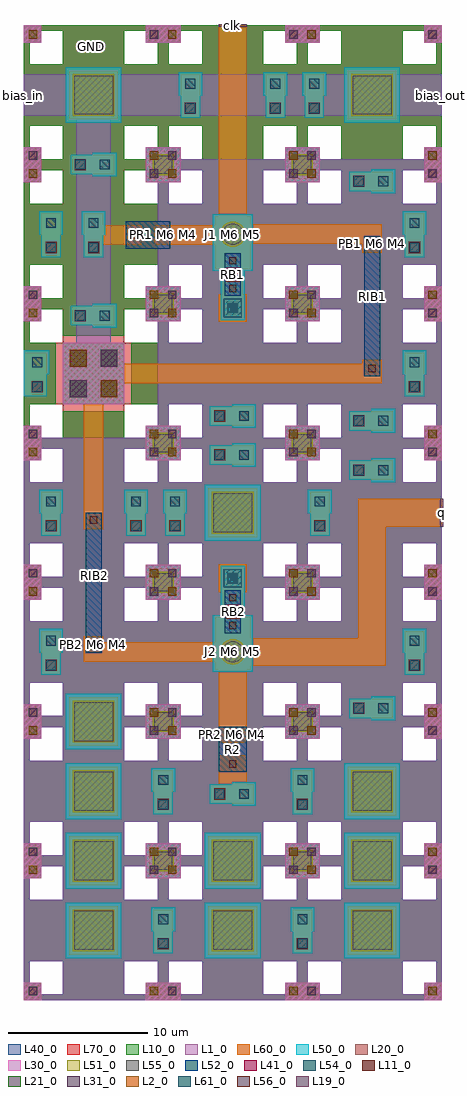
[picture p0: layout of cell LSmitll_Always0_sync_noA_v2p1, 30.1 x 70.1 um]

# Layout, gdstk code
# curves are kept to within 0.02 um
from math import pi, radians
import gdstk
lib = gdstk.Library(unit=1e-6, precision=1e-09)
def R(c, l, rs):  # rectangles x0, y0, x1, y1
    for r in rs: c.add(gdstk.rectangle(r[:2], r[2:], *l))
def P(c, l, *ps):  # polygons
    for p in ps: c.add(gdstk.Polygon(p, *l))
L1_0 = (1, 0)
L2_0 = (2, 0)
L10_0 = (10, 0)
L11_0 = (11, 0)
L19_0 = (19, 0)
L20_0 = (20, 0)
L21_0 = (21, 0)
L30_0 = (30, 0)
L31_0 = (31, 0)
L40_0 = (40, 0)
L41_0 = (41, 0)
L50_0 = (50, 0)
L51_0 = (51, 0)
L52_0 = (52, 0)
L54_0 = (54, 0)
L55_0 = (55, 0)
L56_0 = (56, 0)
L60_0 = (60, 0)
L61_0 = (61, 0)
L70_0 = (70, 0)

ls_tr_m0 = lib.new_cell('ls_tr_M0')
P(ls_tr_m0, L1_0, [(0,0),(0,10),(1.25,10),(1.25,8.75),(0.4,8.75),(0.4,1.25),(1.25,1.25),(1.25,0.4),(2.8,0.4),(2.8,2.8),(0.4,2.8),(0.4,7.2),(2.8,7.2),(2.8,9.6),(1.25,9.6),(1.25,10),(7.2,10),(7.2,0.4),(8.75,0.4),(8.75,1.25),(9.6,1.25),(9.6,2.8),(7.2,2.8),(7.2,7.2),(9.6,7.2),(9.6,8.75),(8.75,8.75),(8.75,9.6),(7.2,9.6),(7.2,10),(10,10),(10,0)])

ls_conn_m4m5m6m7 = lib.new_cell('ls_conn_M4M5M6M7')
R(ls_conn_m4m5m6m7, L40_0, [(0,0,1.4,1.4)])
R(ls_conn_m4m5m6m7, L41_0, [(0.3,0.3,1.1,1.1)])
P(ls_conn_m4m5m6m7, L50_0, [(1.6,-0.15),(1.6,0),(0,0),(0,1.4),(1.6,1.4),(1.6,1.55),(3.3,1.55),(3.3,-0.15)])
R(ls_conn_m4m5m6m7, L54_0, [(2.1,0.35,2.8,1.05)])
R(ls_conn_m4m5m6m7, L60_0, [(0,0,3.15,1.4)])
R(ls_conn_m4m5m6m7, L61_0, [(0.35,0.35,1.05,1.05)])
R(ls_conn_m4m5m6m7, L70_0, [(0,0,1.4,1.4)])

ls_fakejj_3umx3um = lib.new_cell('ls_FakeJJ_3umx3um')
R(ls_fakejj_3umx3um, L40_0, [(-2,-2,2,2)])
R(ls_fakejj_3umx3um, L50_0, [(-2,-2,2,2)])
R(ls_fakejj_3umx3um, L51_0, [(-1.5,-1.5,1.5,1.5)])
R(ls_fakejj_3umx3um, L55_0, [(-1.4,-1.4,1.4,1.4)])
R(ls_fakejj_3umx3um, L60_0, [(-1.75,-1.75,1.75,1.75)])

ls_fakejj_1p5x1p5um = lib.new_cell('ls_FakeJJ_1p5x1p5um')
R(ls_fakejj_1p5x1p5um, L40_0, [(-1.25,-1.25,1.25,1.25)])
R(ls_fakejj_1p5x1p5um, L50_0, [(-1.25,-1.25,1.25,1.25)])
R(ls_fakejj_1p5x1p5um, L51_0, [(-0.75,-0.75,0.75,0.75)])
R(ls_fakejj_1p5x1p5um, L55_0, [(-0.65,-0.65,0.65,0.65)])
R(ls_fakejj_1p5x1p5um, L60_0, [(-1,-1,1,1)])

ls_ib_175 = lib.new_cell('ls_ib_175')
R(ls_ib_175, L52_0, [(-0.575,0,0.575,10.05)])
R(ls_ib_175, L56_0, [(-0.26,0.29,0.26,0.81), (-0.26,9.26,0.26,9.78)])
R(ls_ib_175, L60_0, [(-0.625,-0.1,0.625,1.175), (-0.625,8.875,0.625,10.15)])

ls_tr_m7 = lib.new_cell('ls_tr_M7')
P(ls_tr_m7, L70_0, [(0,0),(0,10),(1.25,10),(1.25,8.75),(0.4,8.75),(0.4,1.25),(1.25,1.25),(1.25,0.4),(2.8,0.4),(2.8,2.8),(0.4,2.8),(0.4,7.2),(2.8,7.2),(2.8,9.6),(1.25,9.6),(1.25,10),(7.2,10),(7.2,0.4),(8.75,0.4),(8.75,1.25),(9.6,1.25),(9.6,2.8),(7.2,2.8),(7.2,7.2),(9.6,7.2),(9.6,8.75),(8.75,8.75),(8.75,9.6),(7.2,9.6),(7.2,10),(10,10),(10,0)])

ls_tr_u_m4_alt = lib.new_cell('ls_tr_u_M4_alt')
R(ls_tr_u_m4_alt, L1_0, [(0,0,1.25,1.25), (8.75,0,10,1.25), (0,8.75,1.25,10), (8.75,8.75,10,10)])
R(ls_tr_u_m4_alt, L2_0, [(9.05,0.35,9.65,0.95), (0.35,9.05,0.95,9.65)])
R(ls_tr_u_m4_alt, L10_0, [(0,0,1.25,1.25), (1.25,0,8.75,0.4), (8.75,0,10,1.25), (2.8,0.4,7.2,9.6), (0,1.25,0.4,8.75), (9.6,1.25,10,8.75), (0.4,2.8,2.8,7.2), (7.2,2.8,9.6,7.2), (0,8.75,1.25,10), (8.75,8.75,10,10), (1.25,9.6,8.75,10)])
R(ls_tr_u_m4_alt, L11_0, [(0.35,0.35,0.95,0.95), (9.05,9.05,9.65,9.65)])
R(ls_tr_u_m4_alt, L20_0, [(0,0,1.25,1.25), (8.75,0,10,1.25), (0,8.75,1.25,10), (8.75,8.75,10,10)])
R(ls_tr_u_m4_alt, L21_0, [(9.05,0.35,9.65,0.95), (0.35,9.05,0.95,9.65)])
R(ls_tr_u_m4_alt, L30_0, [(0,0,1.25,1.25), (8.75,0,10,1.25), (0,8.75,1.25,10), (8.75,8.75,10,10)])
R(ls_tr_u_m4_alt, L31_0, [(0.35,0.35,0.95,0.95), (9.05,9.05,9.65,9.65)])
P(ls_tr_u_m4_alt, L40_0, [(0,0),(0,10),(1.25,10),(1.25,8.75),(0.4,8.75),(0.4,1.25),(1.25,1.25),(1.25,0.4),(2.8,0.4),(2.8,2.8),(0.4,2.8),(0.4,7.2),(2.8,7.2),(2.8,9.6),(1.25,9.6),(1.25,10),(7.2,10),(7.2,0.4),(8.75,0.4),(8.75,1.25),(9.6,1.25),(9.6,2.8),(7.2,2.8),(7.2,7.2),(9.6,7.2),(9.6,8.75),(8.75,8.75),(8.75,9.6),(7.2,9.6),(7.2,10),(10,10),(10,0)])
ls_tr_u_m4_alt.add(gdstk.Reference(ls_tr_m7, (0,0)))

ls_conn_m5m6m7 = lib.new_cell('ls_conn_M5M6M7')
R(ls_conn_m5m6m7, L50_0, [(-0.5,-0.5,1.2,1.2)])
R(ls_conn_m5m6m7, L54_0, [(0,0,0.7,0.7)])
R(ls_conn_m5m6m7, L60_0, [(-0.65,-0.65,1.35,1.35)])
R(ls_conn_m5m6m7, L61_0, [(-0.3,-0.3,1,1)])
R(ls_conn_m5m6m7, L70_0, [(-0.65,-0.65,1.35,1.35)])

ls_jj_250_sg = lib.new_cell('ls_jj_250_sg')
R(ls_jj_250_sg, L41_0, [(-0.5,2.4,0.5,3.4)])
R(ls_jj_250_sg, L50_0, [(-1.425,-1.425,1.425,2.625), (-0.875,2.625,0.875,6.175)])
P(ls_jj_250_sg, L51_0, [(0,-0.91),(-0.18,-0.895),(-0.35,-0.84),(-0.645,-0.645),(-0.84,-0.35),(-0.91,0),(-0.895,0.18),(-0.84,0.35),(-0.645,0.645),(-0.35,0.84),(-0.18,0.895),(0,0.91),(0.18,0.895),(0.35,0.84),(0.645,0.645),(0.84,0.35),(0.895,0.18),(0.91,0),(0.84,-0.35),(0.645,-0.645),(0.35,-0.84),(0.18,-0.895)])
R(ls_jj_250_sg, L52_0, [(-0.575,1.35,0.575,4.425)])
R(ls_jj_250_sg, L54_0, [(-0.35,4.95,0.35,5.65)])
P(ls_jj_250_sg, L55_0, [(0,-0.76),(-0.15,-0.75),(-0.29,-0.7),(-0.54,-0.54),(-0.7,-0.29),(-0.75,-0.15),(-0.76,0),(-0.75,0.15),(-0.7,0.29),(-0.54,0.54),(-0.29,0.7),(-0.15,0.75),(0,0.76),(0.15,0.75),(0.29,0.7),(0.54,0.54),(0.7,0.29),(0.75,0.15),(0.76,0),(0.75,-0.15),(0.7,-0.29),(0.54,-0.54),(0.29,-0.7),(0.15,-0.75)])
R(ls_jj_250_sg, L56_0, [(-0.26,1.64,0.26,2.16), (-0.26,3.63,0.26,4.15)])
R(ls_jj_250_sg, L60_0, [(-1.275,-1.275,1.275,2.525), (-0.725,3.25,0.725,6.025)])
ls_jj_250_sg.add(gdstk.Reference(ls_conn_m5m6m7, (-0.35,4.95)))

ls_res_2 = lib.new_cell('ls_res_2')
R(ls_res_2, L52_0, [(-1,0,1,3.225)])
R(ls_res_2, L56_0, [(-0.26,0.29,0.26,0.81), (-0.26,2.44,0.26,2.96)])
R(ls_res_2, L60_0, [(-0.625,-0.1,0.625,1.175), (-0.625,2.075,0.625,3.325)])

ls_tr_bias_pillar_m0m6 = lib.new_cell('ls_tr_bias_pillar_M0M6')
R(ls_tr_bias_pillar_m0m6, L1_0, [(0,0,1.25,1.25), (8.75,0,10,1.25), (2.8,2.8,7.2,7.2), (0,8.75,1.25,10), (8.75,8.75,10,10)])
R(ls_tr_bias_pillar_m0m6, L2_0, [(9.05,0.35,9.65,0.95), (5.5,3.3,6.7,4.5), (3.3,5.5,4.5,6.7), (0.35,9.05,0.95,9.65)])
R(ls_tr_bias_pillar_m0m6, L10_0, [(0,0,1.25,1.25), (8.75,0,10,1.25), (2.8,2.8,7.2,7.2), (0,8.75,1.25,10), (8.75,8.75,10,10)])
P(ls_tr_bias_pillar_m0m6, L10_0, [(0,0),(0,10),(7.2,10),(7.2,7.7),(2.8,7.7),(2.8,9.6),(1.25,9.6),(1.25,8.75),(0.4,8.75),(0.4,7.2),(2.3,7.2),(2.3,2.8),(0.4,2.8),(0.4,1.25),(1.25,1.25),(1.25,0.4),(2.8,0.4),(2.8,2.3),(7.2,2.3),(7.2,0.4),(8.75,0.4),(8.75,1.25),(9.6,1.25),(9.6,2.8),(7.7,2.8),(7.7,7.2),(9.6,7.2),(9.6,8.75),(8.75,8.75),(8.75,9.6),(7.2,9.6),(7.2,10),(10,10),(10,0)])
R(ls_tr_bias_pillar_m0m6, L11_0, [(0.35,0.35,0.95,0.95), (3.3,3.3,4.5,4.5), (5.5,5.5,6.7,6.7), (9.05,9.05,9.65,9.65)])
R(ls_tr_bias_pillar_m0m6, L20_0, [(0,0,1.25,1.25), (8.75,0,10,1.25), (2.8,2.8,7.2,7.2), (0,8.75,1.25,10), (8.75,8.75,10,10)])
R(ls_tr_bias_pillar_m0m6, L21_0, [(9.05,0.35,9.65,0.95), (5.5,3.3,6.7,4.5), (3.3,5.5,4.5,6.7), (0.35,9.05,0.95,9.65)])
R(ls_tr_bias_pillar_m0m6, L30_0, [(0,0,1.25,1.25), (8.75,0,10,1.25), (2.8,2.8,7.2,7.2), (0,8.75,1.25,10), (8.75,8.75,10,10)])
R(ls_tr_bias_pillar_m0m6, L31_0, [(0.35,0.35,0.95,0.95), (3.3,3.3,4.5,4.5), (5.5,5.5,6.7,6.7), (9.05,9.05,9.65,9.65)])
R(ls_tr_bias_pillar_m0m6, L40_0, [(2.8,2.8,7.2,7.2)])
P(ls_tr_bias_pillar_m0m6, L40_0, [(0,0),(0,10),(7.2,10),(7.2,7.7),(2.8,7.7),(2.8,9.6),(1.25,9.6),(1.25,8.75),(0.4,8.75),(0.4,7.2),(2.3,7.2),(2.3,2.8),(0.4,2.8),(0.4,1.25),(1.25,1.25),(1.25,0.4),(2.8,0.4),(2.8,2.3),(7.2,2.3),(7.2,0.4),(8.75,0.4),(8.75,1.25),(9.6,1.25),(9.6,2.8),(7.7,2.8),(7.7,7.2),(9.6,7.2),(9.6,8.75),(8.75,8.75),(8.75,9.6),(7.2,9.6),(7.2,10),(10,10),(10,0)])
R(ls_tr_bias_pillar_m0m6, L41_0, [(5.5,3.3,6.7,4.5), (3.3,5.5,4.5,6.7)])
R(ls_tr_bias_pillar_m0m6, L50_0, [(2.8,2.8,7.2,7.2)])
R(ls_tr_bias_pillar_m0m6, L54_0, [(3.3,3.3,4.5,4.5), (5.5,5.5,6.7,6.7)])
R(ls_tr_bias_pillar_m0m6, L60_0, [(2.8,2.8,7.2,7.2)])
P(ls_tr_bias_pillar_m0m6, L70_0, [(0,0),(0,10),(1.25,10),(1.25,8.75),(0.4,8.75),(0.4,1.25),(1.25,1.25),(1.25,0.4),(2.8,0.4),(2.8,2.8),(0.4,2.8),(0.4,7.2),(2.8,7.2),(2.8,9.6),(1.25,9.6),(1.25,10),(7.2,10),(7.2,0.4),(8.75,0.4),(8.75,1.25),(9.6,1.25),(9.6,2.8),(7.2,2.8),(7.2,7.2),(9.6,7.2),(9.6,8.75),(8.75,8.75),(8.75,9.6),(7.2,9.6),(7.2,10),(10,10),(10,0)])

lsmitll_always0_sync_noa = lib.new_cell('LSmitll_Always0_sync_noA_v2p1')
R(lsmitll_always0_sync_noa, L1_0, [(1.25,40,8.75,40.4), (9.6,41.25,10,58.75), (11.25,60,28.75,60.4)])
R(lsmitll_always0_sync_noa, L19_0, [(14.74,18.84,15.26,19.36), (4.74,25.24,5.26,25.76), (24.74,54.06,25.26,54.58), (9.74,54.69,10.26,55.21)])
R(lsmitll_always0_sync_noa, L50_0, [(0,43.35,0.25,46.65)])
R(lsmitll_always0_sync_noa, L60_0, [(0,43.35,0.25,46.5)])
lsmitll_always0_sync_noa.add(gdstk.FlexPath([(8.475,54.95),(5.7,54.95)], 1.4, ends="flush", simple_path=True, layer=60, datatype=0))  # L60_0
lsmitll_always0_sync_noa.add(gdstk.FlexPath([(13.725,54.95),(9.375,54.95)], 1.4, ends="flush", simple_path=True, layer=60, datatype=0))  # L60_0
lsmitll_always0_sync_noa.add(gdstk.FlexPath([(15,18.475),(15,23.725)], 2, ends="flush", simple_path=True, layer=60, datatype=0))  # L60_0
lsmitll_always0_sync_noa.add(gdstk.FlexPath([(15,56.275),(15,70)], 2, ends="flush", simple_path=True, layer=60, datatype=0))  # L60_0
lsmitll_always0_sync_noa.add(gdstk.FlexPath([(15,15.5),(15,17.575)], 2, ends="flush", simple_path=True, layer=60, datatype=0))  # L60_0
lsmitll_always0_sync_noa.add(gdstk.FlexPath([(30,35),(25,35),(25,25),(16.275,25)], 2, ends="flush", simple_path=True, layer=60, datatype=0))  # L60_0
lsmitll_always0_sync_noa.add(gdstk.FlexPath([(16.275,55),(25,55),(25,53.675)], 1.4, ends="flush", simple_path=True, layer=60, datatype=0))  # L60_0
lsmitll_always0_sync_noa.add(gdstk.FlexPath([(5,45),(25,45),(25,45.975)], 1.4, ends="flush", simple_path=True, layer=60, datatype=0))  # L60_0
lsmitll_always0_sync_noa.add(gdstk.FlexPath([(13.725,25),(5,25),(5,26.125)], 1.4, ends="flush", simple_path=True, layer=60, datatype=0))  # L60_0
lsmitll_always0_sync_noa.add(gdstk.FlexPath([(5,33.825),(5,45)], 1.4, ends="flush", simple_path=True, layer=60, datatype=0))  # L60_0
lsmitll_always0_sync_noa.add(gdstk.FlexPath([(5,45),(5,65)], 2.5, ends="flush", simple_path=True, layer=1, datatype=0))  # L1_0
lsmitll_always0_sync_noa.add(gdstk.FlexPath([(0,65),(30,65)], 3, ends="flush", simple_path=True, layer=1, datatype=0))  # L1_0
lsmitll_always0_sync_noa.add(gdstk.FlexPath([(14,70),(16,70)], 0.2, ends="flush", simple_path=True, layer=19, datatype=0))  # L19_0
lsmitll_always0_sync_noa.add(gdstk.FlexPath([(30,34),(30,36)], 0.2, ends="flush", simple_path=True, layer=19, datatype=0))  # L19_0
lsmitll_always0_sync_noa.add(gdstk.Reference(ls_tr_m0, (10,50)))
lsmitll_always0_sync_noa.add(gdstk.Reference(ls_tr_m0, (20,50)))
lsmitll_always0_sync_noa.add(gdstk.Reference(ls_tr_m0, (20,40)))
lsmitll_always0_sync_noa.add(gdstk.Reference(ls_tr_m0, (10,40)))
r = gdstk.Reference(ls_tr_m0, (0,0)); r.repetition = gdstk.Repetition(3, 4, v1=(10,0), v2=(0,10)); lsmitll_always0_sync_noa.add(r)
lsmitll_always0_sync_noa.add(gdstk.Reference(ls_conn_m4m5m6m7, (13.35,38.45)))
lsmitll_always0_sync_noa.add(gdstk.Reference(ls_conn_m4m5m6m7, (11.55,33.35), rotation=pi/2))
lsmitll_always0_sync_noa.add(gdstk.Reference(ls_fakejj_3umx3um, (15,35)))
lsmitll_always0_sync_noa.add(gdstk.Reference(ls_conn_m4m5m6m7, (21.95,33.35), rotation=pi/2))
lsmitll_always0_sync_noa.add(gdstk.Reference(ls_conn_m4m5m6m7, (8.75,33.35), rotation=pi/2))
lsmitll_always0_sync_noa.add(gdstk.Reference(ls_conn_m4m5m6m7, (2.65,33.35), rotation=pi/2))
lsmitll_always0_sync_noa.add(gdstk.Reference(ls_conn_m4m5m6m7, (2.65,23.35), rotation=pi/2))
lsmitll_always0_sync_noa.add(gdstk.Reference(ls_fakejj_3umx3um, (25,65)))
lsmitll_always0_sync_noa.add(gdstk.Reference(ls_conn_m4m5m6m7, (13.35,41.25)))
lsmitll_always0_sync_noa.add(gdstk.Reference(ls_conn_m4m5m6m7, (3.35,48.45)))
lsmitll_always0_sync_noa.add(gdstk.Reference(ls_conn_m4m5m6m7, (1.65,43.35), rotation=pi/2))
lsmitll_always0_sync_noa.add(gdstk.Reference(ls_fakejj_3umx3um, (25,15)))
lsmitll_always0_sync_noa.add(gdstk.Reference(ls_fakejj_1p5x1p5um, (10,10)))
lsmitll_always0_sync_noa.add(gdstk.Reference(ls_fakejj_1p5x1p5um, (20,10)))
lsmitll_always0_sync_noa.add(gdstk.Reference(ls_fakejj_1p5x1p5um, (20,20)))
lsmitll_always0_sync_noa.add(gdstk.Reference(ls_fakejj_1p5x1p5um, (10,20)))
lsmitll_always0_sync_noa.add(gdstk.Reference(ls_fakejj_1p5x1p5um, (10,30)))
lsmitll_always0_sync_noa.add(gdstk.Reference(ls_fakejj_1p5x1p5um, (20,30)))
lsmitll_always0_sync_noa.add(gdstk.Reference(ls_fakejj_1p5x1p5um, (20,40)))
lsmitll_always0_sync_noa.add(gdstk.Reference(ls_fakejj_1p5x1p5um, (10,40)))
lsmitll_always0_sync_noa.add(gdstk.Reference(ls_fakejj_1p5x1p5um, (10,50)))
lsmitll_always0_sync_noa.add(gdstk.Reference(ls_fakejj_1p5x1p5um, (20,50)))
lsmitll_always0_sync_noa.add(gdstk.Reference(ls_fakejj_1p5x1p5um, (20,60)))
lsmitll_always0_sync_noa.add(gdstk.Reference(ls_fakejj_1p5x1p5um, (10,60)))
lsmitll_always0_sync_noa.add(gdstk.Reference(ls_conn_m4m5m6m7, (13.35,14.1)))
lsmitll_always0_sync_noa.add(gdstk.Reference(ls_ib_175, (5,24.95)))
lsmitll_always0_sync_noa.add(gdstk.Reference(ls_tr_u_m4_alt, (20,60)))
lsmitll_always0_sync_noa.add(gdstk.Reference(ls_tr_u_m4_alt, (20,40)))
lsmitll_always0_sync_noa.add(gdstk.Reference(ls_tr_u_m4_alt, (20,30)))
lsmitll_always0_sync_noa.add(gdstk.Reference(ls_tr_u_m4_alt, (20,20)))
lsmitll_always0_sync_noa.add(gdstk.Reference(ls_tr_u_m4_alt, (20,10)))
lsmitll_always0_sync_noa.add(gdstk.Reference(ls_tr_u_m4_alt, (20,0)))
lsmitll_always0_sync_noa.add(gdstk.Reference(ls_tr_u_m4_alt, (10,0)))
lsmitll_always0_sync_noa.add(gdstk.Reference(ls_tr_u_m4_alt, (10,10)))
lsmitll_always0_sync_noa.add(gdstk.Reference(ls_tr_u_m4_alt, (10,20)))
lsmitll_always0_sync_noa.add(gdstk.Reference(ls_tr_u_m4_alt, (10,30)))
lsmitll_always0_sync_noa.add(gdstk.Reference(ls_tr_u_m4_alt, (10,40)))
lsmitll_always0_sync_noa.add(gdstk.Reference(ls_tr_u_m4_alt, (10,50)))
lsmitll_always0_sync_noa.add(gdstk.Reference(ls_tr_u_m4_alt, (10,60)))
lsmitll_always0_sync_noa.add(gdstk.Reference(ls_tr_u_m4_alt, (0,60)))
lsmitll_always0_sync_noa.add(gdstk.Reference(ls_tr_u_m4_alt, (0,50)))
lsmitll_always0_sync_noa.add(gdstk.Reference(ls_tr_u_m4_alt, (0,30)))
lsmitll_always0_sync_noa.add(gdstk.Reference(ls_tr_u_m4_alt, (0,20)))
lsmitll_always0_sync_noa.add(gdstk.Reference(ls_tr_u_m4_alt, (0,10)))
lsmitll_always0_sync_noa.add(gdstk.Reference(ls_tr_u_m4_alt, (0,0)))
lsmitll_always0_sync_noa.add(gdstk.Reference(ls_jj_250_sg, (15,25)))
lsmitll_always0_sync_noa.add(gdstk.Reference(ls_jj_250_sg, (15,55), x_reflection=True))
lsmitll_always0_sync_noa.add(gdstk.Reference(ls_ib_175, (25,44.8), rotation=pi, x_reflection=True))
lsmitll_always0_sync_noa.add(gdstk.Reference(ls_res_2, (7.3,54.95), rotation=pi/2, x_reflection=True))
lsmitll_always0_sync_noa.add(gdstk.Reference(ls_res_2, (15,16.4)))
lsmitll_always0_sync_noa.add(gdstk.Reference(ls_tr_bias_pillar_m0m6, (0,40)))
lsmitll_always0_sync_noa.add(gdstk.Reference(ls_conn_m4m5m6m7, (23.35,37.35)))
lsmitll_always0_sync_noa.add(gdstk.Reference(ls_conn_m4m5m6m7, (18.75,63.35), rotation=pi/2))
lsmitll_always0_sync_noa.add(gdstk.Reference(ls_conn_m4m5m6m7, (12.65,63.35), rotation=pi/2))
lsmitll_always0_sync_noa.add(gdstk.Reference(ls_conn_m4m5m6m7, (5.7,53.35), rotation=pi/2))
lsmitll_always0_sync_noa.add(gdstk.Reference(ls_conn_m4m5m6m7, (2.65,53.35), rotation=pi/2))
lsmitll_always0_sync_noa.add(gdstk.Reference(ls_conn_m4m5m6m7, (28.75,23.35), rotation=pi/2))
lsmitll_always0_sync_noa.add(gdstk.Reference(ls_conn_m4m5m6m7, (10.7,13.35), rotation=pi/2))
lsmitll_always0_sync_noa.add(gdstk.Reference(ls_conn_m4m5m6m7, (20.7,13.35), rotation=pi/2))
lsmitll_always0_sync_noa.add(gdstk.Reference(ls_conn_m4m5m6m7, (20.7,3.35), rotation=pi/2))
lsmitll_always0_sync_noa.add(gdstk.Reference(ls_conn_m4m5m6m7, (10.7,3.35), rotation=pi/2))
lsmitll_always0_sync_noa.add(gdstk.Reference(ls_fakejj_3umx3um, (25,5)))
lsmitll_always0_sync_noa.add(gdstk.Reference(ls_fakejj_3umx3um, (15,5)))
lsmitll_always0_sync_noa.add(gdstk.Reference(ls_fakejj_3umx3um, (5,5)))
lsmitll_always0_sync_noa.add(gdstk.Reference(ls_fakejj_3umx3um, (25,10)))
lsmitll_always0_sync_noa.add(gdstk.Reference(ls_fakejj_3umx3um, (15,10)))
lsmitll_always0_sync_noa.add(gdstk.Reference(ls_fakejj_3umx3um, (5,10)))
lsmitll_always0_sync_noa.add(gdstk.Reference(ls_conn_m4m5m6m7, (21.55,63.35), rotation=pi/2))
lsmitll_always0_sync_noa.add(gdstk.Reference(ls_conn_m4m5m6m7, (23.35,20.25)))
lsmitll_always0_sync_noa.add(gdstk.Reference(ls_tr_u_m4_alt, (20,50)))
lsmitll_always0_sync_noa.add(gdstk.Reference(ls_conn_m4m5m6m7, (28.75,53.35), rotation=pi/2))
lsmitll_always0_sync_noa.add(gdstk.Reference(ls_conn_m4m5m6m7, (28.75,43.35), rotation=pi/2))
lsmitll_always0_sync_noa.add(gdstk.Reference(ls_conn_m4m5m6m7, (23.35,40.9)))
lsmitll_always0_sync_noa.add(gdstk.Reference(ls_fakejj_3umx3um, (5,20)))
lsmitll_always0_sync_noa.add(gdstk.Reference(ls_fakejj_3umx3um, (5,65)))
lsmitll_always0_sync_noa.add(gdstk.Reference(ls_conn_m4m5m6m7, (3.35,59.3)))
lsmitll_always0_sync_noa.add(gdstk.Reference(ls_fakejj_3umx3um, (5,15)))
lsmitll_always0_sync_noa.add(gdstk.Reference(ls_conn_m4m5m6m7, (23.35,58.1)))
lsmitll_always0_sync_noa.add(gdstk.Label('bias_out', (30,65), layer=182, texttype=0))
lsmitll_always0_sync_noa.add(gdstk.Label('bias_in', (0,65), layer=182, texttype=0))
lsmitll_always0_sync_noa.add(gdstk.Label('clk', (15,70), layer=182, texttype=0))
lsmitll_always0_sync_noa.add(gdstk.Label('q', (30,35), layer=182, texttype=0))
lsmitll_always0_sync_noa.add(gdstk.Label('P1 M6 M4', (15,70), layer=182, texttype=0))
lsmitll_always0_sync_noa.add(gdstk.Label('J1 M6 M5', (15,55), layer=182, texttype=0))
lsmitll_always0_sync_noa.add(gdstk.Label('PR1 M6 M4', (10,54.95), layer=182, texttype=0))
lsmitll_always0_sync_noa.add(gdstk.Label('PB1 M6 M4', (25,54.3), layer=182, texttype=0))
lsmitll_always0_sync_noa.add(gdstk.Label('PB2 M6 M4', (5,25.5), layer=182, texttype=0))
lsmitll_always0_sync_noa.add(gdstk.Label('J2 M6 M5', (15,25), layer=182, texttype=0))
lsmitll_always0_sync_noa.add(gdstk.Label('PR2 M6 M4', (15,19.1), layer=182, texttype=0))
lsmitll_always0_sync_noa.add(gdstk.Label('P2 M6 M4', (30,35), layer=182, texttype=0))
lsmitll_always0_sync_noa.add(gdstk.Label('VDD', (1.575,65), layer=1, texttype=1))
lsmitll_always0_sync_noa.add(gdstk.Label('GND', (4.875,68.475), layer=40, texttype=1))
lsmitll_always0_sync_noa.add(gdstk.Label('clk', (14.075,69.95), layer=60, texttype=1))
lsmitll_always0_sync_noa.add(gdstk.Label('q', (29.95,34.075), layer=60, texttype=1))
lsmitll_always0_sync_noa.add(gdstk.Label('RB1', (15,52.1), layer=52, texttype=1))
lsmitll_always0_sync_noa.add(gdstk.Label('RB2', (15.025,27.9), layer=52, texttype=1))
lsmitll_always0_sync_noa.add(gdstk.Label('R1', (9,55), layer=52, texttype=1))
lsmitll_always0_sync_noa.add(gdstk.Label('R2', (15,18.025), layer=52, texttype=1))
lsmitll_always0_sync_noa.add(gdstk.Label('RIB1', (25,50.55), layer=52, texttype=1))
lsmitll_always0_sync_noa.add(gdstk.Label('RIB2', (5.05,30.5), layer=52, texttype=1))

lib.write_gds('LSmitll_Always0_sync_noA_v2p1.gds')
